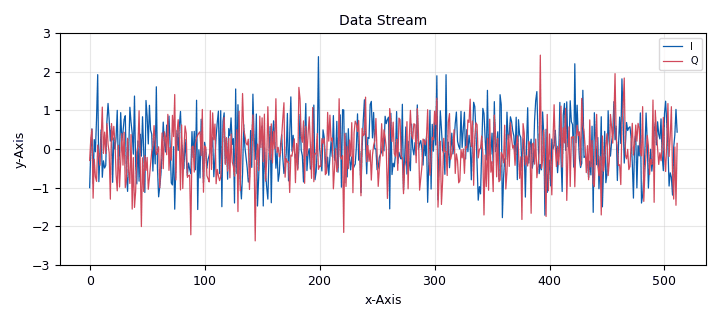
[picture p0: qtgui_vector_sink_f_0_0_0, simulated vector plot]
<?xml version='1.0' encoding='utf-8'?>
<?grc format='1' created='3.7.12'?>
<flow_graph>
<block>
<key>options</key>
<param><key>id</key><value>detect_with_sink</value></param>
<param><key>author</key><value>Glen Langston</value></param>
<param><key>category</key><value>Custom</value></param>
<param><key>description</key><value>Sigma-based event detection</value></param>
<param><key>generate_options</key><value>qt_gui</value></param>
<param><key>title</key><value>Event Detect</value></param>
</block>
<block>
<key>variable</key>
<param><key>id</key><value>freq</value></param>
<param><key>value</key><value>705e6</value></param>
</block>
<block>
<key>variable_qtgui_entry</key>
<param><key>id</key><value>frequency</value></param>
<param><key>value</key><value>1420.406</value></param>
<param><key>label</key><value>Frequency (MHz)</value></param>
<param><key>type</key><value>real</value></param>
</block>
<block>
<key>variable_qtgui_chooser</key>
<param><key>id</key><value>mode</value></param>
<param><key>value</key><value>1</value></param>
<param><key>label0</key><value>Monitor</value></param>
<param><key>label1</key><value>Detect</value></param>
<param><key>label</key><value>Mode</value></param>
<param><key>num_opts</key><value>2</value></param>
<param><key>option0</key><value>0</value></param>
<param><key>option1</key><value>1</value></param>
<param><key>type</key><value>int</value></param>
</block>
<block>
<key>variable_qtgui_range</key>
<param><key>id</key><value>nsigma</value></param>
<param><key>value</key><value>3.9</value></param>
<param><key>label</key><value>N Sigma</value></param>
<param><key>min_len</key><value>100</value></param>
<param><key>orient</key><value>Qt.Horizontal</value></param>
<param><key>start</key><value>0.1</value></param>
<param><key>step</key><value>.1</value></param>
<param><key>stop</key><value>10.</value></param>
<param><key>widget</key><value>counter</value></param>
</block>
<block>
<key>variable_qtgui_entry</key>
<param><key>id</key><value>observer</value></param>
<param><key>value</key><value>Science Aficionados</value></param>
<param><key>label</key><value>Observer</value></param>
<param><key>type</key><value>string</value></param>
</block>
<block>
<key>variable</key>
<param><key>id</key><value>samp_rate</value></param>
<param><key>value</key><value>10e6</value></param>
</block>
<block>
<key>variable</key>
<param><key>id</key><value>vec_length</value></param>
<param><key>value</key><value>512</value></param>
</block>
<block>
<key>analog_noise_source_x</key>
<param><key>id</key><value>analog_noise_source_x_0</value></param>
<param><key>amp</key><value>1</value></param>
<param><key>noise_type</key><value>analog.GR_GAUSSIAN</value></param>
<param><key>type</key><value>complex</value></param>
<param><key>seed</key><value>0</value></param>
</block>
<block>
<key>blocks_complex_to_float</key>
<param><key>id</key><value>blocks_complex_to_float_0</value></param>
<param><key>vlen</key><value>vec_length</value></param>
</block>
<block>
<key>blocks_complex_to_float</key>
<param><key>id</key><value>blocks_complex_to_float_0_0</value></param>
<param><key>vlen</key><value>vec_length</value></param>
</block>
<block>
<key>blocks_stream_to_vector</key>
<param><key>id</key><value>blocks_stream_to_vector_0_0_0</value></param>
<param><key>type</key><value>complex</value></param>
<param><key>num_items</key><value>vec_length</value></param>
</block>
<block>
<key>blocks_tag_debug</key>
<param><key>id</key><value>blocks_tag_debug_0</value></param>
<param><key>type</key><value>complex</value></param>
<param><key>vlen</key><value>vec_length</value></param>
</block>
<block>
<key>blocks_throttle</key>
<param><key>id</key><value>blocks_throttle_0</value></param>
<param><key>samples_per_second</key><value>samp_rate</value></param>
<param><key>type</key><value>complex</value></param>
<param><key>vlen</key><value>vec_length</value></param>
</block>
<block>
<key>note</key>
<param><key>id</key><value>note_0</value></param>
<param><key>note</key><value>Must run gnuradio-companion from a 'config' directory inside an 'observation' directory which also contains a Watch.not file (see example in examples directory).  Creates an 'event' subdirectory with events detected.  </value></param>
</block>
<block>
<key>qtgui_vector_sink_f</key>
<param><key>id</key><value>qtgui_vector_sink_f_0_0</value></param>
<param><key>label1</key><value>Event I</value></param>
<param><key>label2</key><value>Event Q</value></param>
<param><key>name</key><value>Event</value></param>
<param><key>nconnections</key><value>2</value></param>
<param><key>showports</key><value>True</value></param>
<param><key>update_time</key><value>.2</value></param>
<param><key>vlen</key><value>vec_length</value></param>
<param><key>x_start</key><value>0</value></param>
<param><key>x_step</key><value>1.0</value></param>
<param><key>ymax</key><value>3</value></param>
<param><key>ymin</key><value>-3</value></param>
</block>
<block>
<key>qtgui_vector_sink_f</key>
<param><key>id</key><value>qtgui_vector_sink_f_0_0_0</value></param>
<param><key>label1</key><value>I</value></param>
<param><key>label2</key><value>Q</value></param>
<param><key>name</key><value>Data Stream</value></param>
<param><key>nconnections</key><value>2</value></param>
<param><key>showports</key><value>True</value></param>
<param><key>update_time</key><value>0.2</value></param>
<param><key>vlen</key><value>vec_length</value></param>
<param><key>x_start</key><value>0</value></param>
<param><key>x_step</key><value>1.0</value></param>
<param><key>ymax</key><value>3</value></param>
<param><key>ymin</key><value>-3</value></param>
</block>
<block>
<key>radio_astro_detect</key>
<param><key>id</key><value>radio_astro_detect_0</value></param>
<param><key>mode</key><value>mode</value></param>
<param><key>dms</key><value>nsigma</value></param>
<param><key>bw</key><value>samp_rate/1e6</value></param>
<param><key>f_obs</key><value>freq/1e6</value></param>
<param><key>t_int</key><value>1</value></param>
<param><key>vec_length</key><value>vec_length</value></param>
</block>
<block>
<key>radio_astro_ra_event_log</key>
<param><key>id</key><value>radio_astro_ra_event_log_0</value></param>
<param><key>logname</key><value></value></param>
<param><key>note</key><value>Event Detection</value></param>
<param><key>sample_rate</key><value>samp_rate</value></param>
<param><key>vlen</key><value>vec_length</value></param>
</block>
<block>
<key>radio_astro_ra_event_sink</key>
<param><key>id</key><value>radio_astro_ra_event_sink_0</value></param>
<param><key>azimuth</key><value>0</value></param>
<param><key>sample_rate</key><value>samp_rate</value></param>
<param><key>device</key><value></value></param>
<param><key>elevation</key><value>90</value></param>
<param><key>frequency</key><value>frequency</value></param>
<param><key>gain1</key><value>14.</value></param>
<param><key>note</key><value>Event Detection</value></param>
<param><key>observer</key><value>observer</value></param>
<param><key>record</key><value>1</value></param>
<param><key>setup</key><value>WatchDetect.not</value></param>
<param><key>telescope</key><value>My Horn</value></param>
<param><key>vlen</key><value>vec_length</value></param>
</block>
<connection><source_block_id>analog_noise_source_x_0</source_block_id><sink_block_id>blocks_stream_to_vector_0_0_0</sink_block_id><source_key>0</source_key><sink_key>0</sink_key></connection>
<connection><source_block_id>blocks_complex_to_float_0</source_block_id><sink_block_id>qtgui_vector_sink_f_0_0</sink_block_id><source_key>1</source_key><sink_key>1</sink_key></connection>
<connection><source_block_id>blocks_complex_to_float_0</source_block_id><sink_block_id>qtgui_vector_sink_f_0_0</sink_block_id><source_key>0</source_key><sink_key>0</sink_key></connection>
<connection><source_block_id>blocks_complex_to_float_0_0</source_block_id><sink_block_id>qtgui_vector_sink_f_0_0_0</sink_block_id><source_key>1</source_key><sink_key>1</sink_key></connection>
<connection><source_block_id>blocks_complex_to_float_0_0</source_block_id><sink_block_id>qtgui_vector_sink_f_0_0_0</sink_block_id><source_key>0</source_key><sink_key>0</sink_key></connection>
<connection><source_block_id>blocks_stream_to_vector_0_0_0</source_block_id><sink_block_id>blocks_throttle_0</sink_block_id><source_key>0</source_key><sink_key>0</sink_key></connection>
<connection><source_block_id>blocks_throttle_0</source_block_id><sink_block_id>blocks_complex_to_float_0_0</sink_block_id><source_key>0</source_key><sink_key>0</sink_key></connection>
<connection><source_block_id>blocks_throttle_0</source_block_id><sink_block_id>radio_astro_detect_0</sink_block_id><source_key>0</source_key><sink_key>0</sink_key></connection>
<connection><source_block_id>radio_astro_detect_0</source_block_id><sink_block_id>blocks_complex_to_float_0</sink_block_id><source_key>0</source_key><sink_key>0</sink_key></connection>
<connection><source_block_id>radio_astro_detect_0</source_block_id><sink_block_id>blocks_tag_debug_0</sink_block_id><source_key>0</source_key><sink_key>0</sink_key></connection>
<connection><source_block_id>radio_astro_detect_0</source_block_id><sink_block_id>radio_astro_ra_event_log_0</sink_block_id><source_key>0</source_key><sink_key>0</sink_key></connection>
<connection><source_block_id>radio_astro_detect_0</source_block_id><sink_block_id>radio_astro_ra_event_sink_0</sink_block_id><source_key>0</source_key><sink_key>0</sink_key></connection>
</flow_graph>
